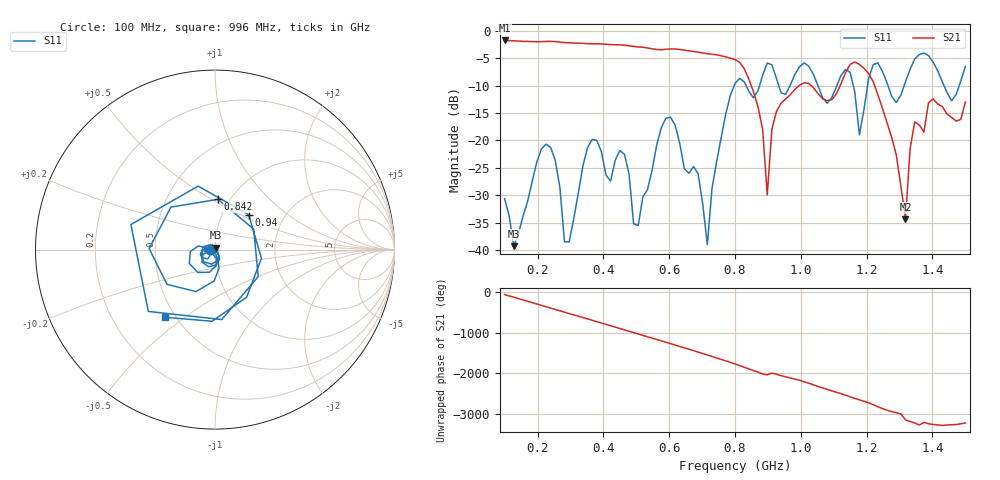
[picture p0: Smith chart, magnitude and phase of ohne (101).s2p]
! NanoVNA-App
! Date: 2025-09-26 09:56:11
! Start: 100MHz Stop: 1,5GHz Points: 101
! S-Parameter data: F S11 S21 S12 S22
# Hz S RI R 50
!  Frequency  S11_Real  S11_Imag  S21_Real  S21_Imag  S12_Real  S12_Imag  S22_Real  S22_Imag
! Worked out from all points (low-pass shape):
!   101 points, 100 MHz to 1.5 GHz, reference 50 ohm
!   highest |S21| = -1.79 dB at 100 MHz (marker M1); lowest = -34.4 dB at 1.318 GHz (marker M2)
!   |S21| within 3 dB of the highest: start of sweep to 772.1 MHz
!   lowest |S11| = -39.3 dB at 128 MHz (marker M3), VSWR 1.02, Z = 50.3 + j1.05 ohm
!   |S11| at or under -10 dB: start of sweep to 797.6 MHz; 833.4 MHz to 874.7 MHz (41.24 MHz wide, 4.83 % of centre); 1.052 GHz to 1.11 GHz (57.83 MHz wide, 5.35 % of centre) (the widest 3 of 7)
!   S12 and S22 are empty: the file has one direction only
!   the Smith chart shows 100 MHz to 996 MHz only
!   S11 on the Smith chart (normalised r, x): 100 MHz: 0.94, -0.01; 842 MHz: 0.88, +0.54; 940 MHz: 1.33, +0.56; 996 MHz: 0.44, -0.42
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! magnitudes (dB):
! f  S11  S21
! 100 MHz  -30.6  -1.8
! 128 MHz  -39.3  -1.9
! 212 MHz  -21.6  -2.0
! 282 MHz  -38.5  -2.2
! 338 MHz  -24.6  -2.3
! 464 MHz  -22.5  -2.7
! 506 MHz  -35.5  -3.0
! 576 MHz  -17.7  -3.5
! 716 MHz  -39.0  -4.2
! 800 MHz  -9.6  -5.3
! 842 MHz  -11.0  -8.8
! 898 MHz  -5.9  -30.0
! 940 MHz  -11.4  -13.2
! 996 MHz  -6.6  -9.9
! 1.038 GHz  -8.0  -10.4
! 1.15 GHz  -7.6  -6.1
! 1.178 GHz  -19.0  -6.2
! 1.22 GHz  -6.2  -9.3
! 1.276 GHz  -11.9  -19.4
! 1.318 GHz  -9.3  -34.4
! 1.346 GHz  -5.2  -16.6
! 1.5 GHz  -6.5  -13.0
